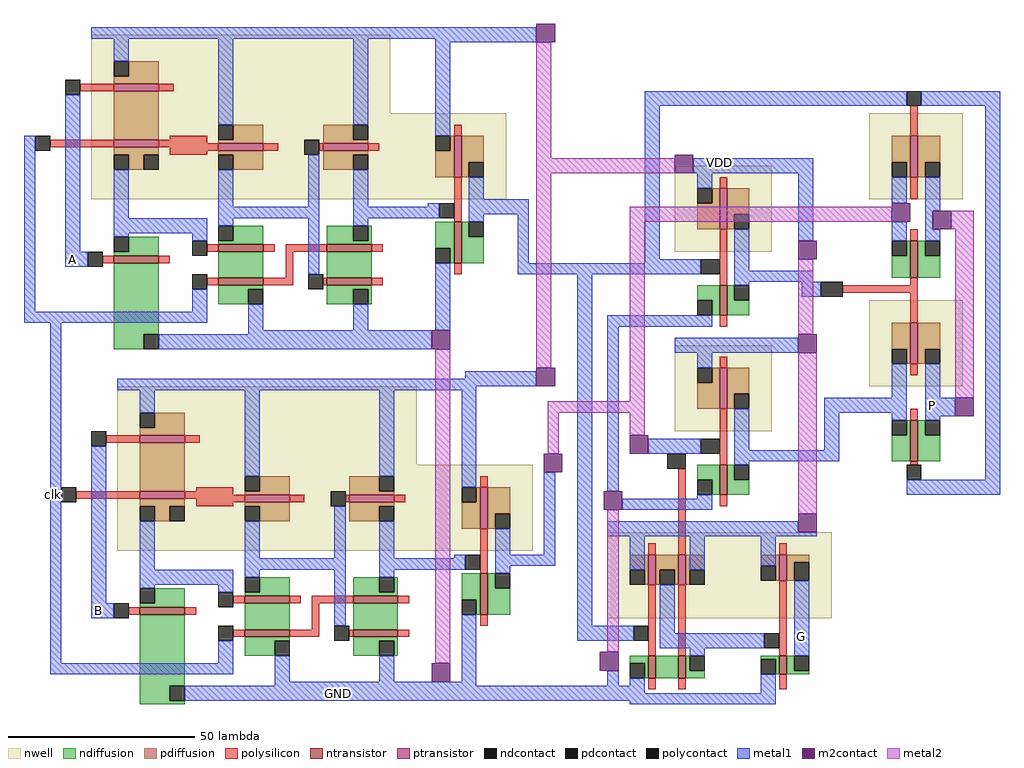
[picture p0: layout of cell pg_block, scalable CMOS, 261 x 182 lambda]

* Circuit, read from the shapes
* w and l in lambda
.subckt pg_block A B G GND P VDD clk
M1 n1 A GND VSUBS nfet w=12 l=2
M2 n2 B GND VSUBS nfet w=12 l=2
M3 n3 clk GND VSUBS nfet w=12 l=2
M4 n4 n1 n3 VSUBS nfet w=12 l=2
M5 n5 clk GND VSUBS nfet w=12 l=2
M6 n6 n2 n5 VSUBS nfet w=12 l=2
M7 n7 n4 GND VSUBS nfet w=12 l=2
M8 n8 clk n7 VSUBS nfet w=12 l=2
M9 n9 n6 GND VSUBS nfet w=12 l=2
M10 n10 clk n9 VSUBS nfet w=12 l=2
M11 n11 n8 GND VSUBS nfet w=11 l=2
M12 n12 n10 GND VSUBS nfet w=11 l=2
M13 n13 n11 GND VSUBS nfet w=6 l=2
M14 n14 n12 n13 VSUBS nfet w=6 l=2
M15 n15 n12 GND VSUBS nfet w=8 l=2
M16 n16 n11 GND VSUBS nfet w=8 l=2
M17 G n14 GND VSUBS nfet w=5 l=2
M18 P n11 n15 VSUBS nfet w=11 l=2
M19 P n16 n12 VSUBS nfet w=10 l=2
M20 n17 clk n1 n18 pfet w=12 l=2
M21 VDD A n17 n18 pfet w=12 l=2
M22 n19 clk n2 n20 pfet w=12 l=2
M23 VDD B n19 n20 pfet w=12 l=2
M24 VDD clk n4 n18 pfet w=12 l=2
M25 VDD clk n6 n20 pfet w=12 l=2
M26 VDD n4 n8 n18 pfet w=12 l=2
M27 VDD n6 n10 n20 pfet w=12 l=2
M28 n11 n8 VDD n18 pfet w=11 l=2
M29 n12 n10 VDD n20 pfet w=11 l=2
M30 n14 n11 VDD n21 pfet w=8 l=2
M31 VDD n12 n14 n21 pfet w=8 l=2
M32 n15 n12 VDD n22 pfet w=11 l=2
M33 n16 n11 VDD n23 pfet w=11 l=2
M34 G n14 VDD n21 pfet w=7 l=2
M35 P n16 n15 n24 pfet w=11 l=2
M36 P n11 n12 n25 pfet w=11 l=2
.ends

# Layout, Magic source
magic
tech scmos
<< nwell >>
rect -124 97 -44 118
rect -124 74 -13 97
rect 32 60 58 83
rect 84 74 109 97
rect -117 3 -37 24
rect 32 12 58 35
rect 84 24 109 47
rect -117 -20 -6 3
rect 14 -38 74 -15
<< ntransistor >>
rect -90 60 -78 62
rect -61 60 -49 62
rect -118 57 -106 59
rect -90 51 -78 53
rect -27 57 -25 68
rect -61 51 -49 53
rect 95 53 97 63
rect 44 43 46 51
rect 95 4 97 15
rect 44 -5 46 3
rect -83 -34 -71 -32
rect -54 -34 -42 -32
rect -111 -37 -99 -35
rect -83 -43 -71 -41
rect -20 -37 -18 -26
rect -54 -43 -42 -41
rect 25 -54 27 -48
rect 33 -54 35 -48
rect 60 -53 62 -48
<< ptransistor >>
rect -118 103 -106 105
rect -118 88 -106 90
rect -90 87 -78 89
rect -62 87 -50 89
rect -27 80 -25 91
rect 95 80 97 91
rect 44 66 46 77
rect 95 30 97 41
rect 44 18 46 29
rect -111 9 -99 11
rect -111 -6 -99 -4
rect -83 -7 -71 -5
rect -55 -7 -43 -5
rect -20 -14 -18 -3
rect 25 -29 27 -21
rect 33 -29 35 -21
rect 60 -28 62 -21
<< ndiffusion >>
rect -114 60 -106 64
rect -86 63 -78 67
rect -118 59 -106 60
rect -90 62 -78 63
rect -61 63 -54 67
rect -50 63 -49 67
rect -61 62 -49 63
rect -32 61 -27 68
rect -118 38 -106 57
rect -90 53 -78 60
rect -90 50 -78 51
rect -61 53 -49 60
rect -28 57 -27 61
rect -25 64 -23 68
rect -25 57 -19 64
rect 94 59 95 63
rect 90 53 95 59
rect 97 59 99 63
rect 97 53 103 59
rect -61 50 -49 51
rect -90 46 -82 50
rect -61 46 -54 50
rect -50 46 -49 50
rect 38 47 44 51
rect 42 43 44 47
rect 46 47 48 51
rect 46 43 52 47
rect -118 34 -110 38
rect 94 11 95 15
rect 90 4 95 11
rect 97 11 99 15
rect 97 4 103 11
rect 38 -1 44 3
rect 42 -5 44 -1
rect 46 -1 48 3
rect 46 -5 52 -1
rect -107 -34 -99 -30
rect -79 -31 -71 -27
rect -111 -35 -99 -34
rect -83 -32 -71 -31
rect -54 -31 -47 -27
rect -43 -31 -42 -27
rect -54 -32 -42 -31
rect -25 -33 -20 -26
rect -111 -56 -99 -37
rect -83 -41 -71 -34
rect -83 -44 -71 -43
rect -54 -41 -42 -34
rect -21 -37 -20 -33
rect -18 -30 -16 -26
rect -18 -37 -12 -30
rect -54 -44 -42 -43
rect -83 -48 -75 -44
rect -54 -48 -47 -44
rect -43 -48 -42 -44
rect 20 -50 25 -48
rect 24 -54 25 -50
rect 27 -54 33 -48
rect 35 -52 36 -48
rect 35 -54 40 -52
rect 55 -49 60 -48
rect 59 -53 60 -49
rect 62 -52 64 -48
rect 62 -53 68 -52
rect -111 -60 -103 -56
rect -111 -61 -99 -60
<< pdiffusion >>
rect -114 107 -106 111
rect -118 105 -106 107
rect -118 90 -106 103
rect -86 90 -78 94
rect -62 90 -54 94
rect -90 89 -78 90
rect -118 86 -106 88
rect -90 86 -78 87
rect -62 89 -50 90
rect -28 87 -27 91
rect -62 86 -50 87
rect -114 82 -110 86
rect -86 82 -78 86
rect -62 82 -54 86
rect -32 80 -27 87
rect -25 84 -19 91
rect -25 80 -23 84
rect 90 84 95 91
rect 94 80 95 84
rect 97 84 103 91
rect 97 80 99 84
rect 42 73 44 77
rect 38 66 44 73
rect 46 70 52 77
rect 46 66 48 70
rect 90 34 95 41
rect 94 30 95 34
rect 97 34 103 41
rect 97 30 99 34
rect 42 25 44 29
rect 38 18 44 25
rect 46 22 52 29
rect 46 18 48 22
rect -107 13 -99 17
rect -111 11 -99 13
rect -111 -4 -99 9
rect -79 -4 -71 0
rect -55 -4 -47 0
rect -83 -5 -71 -4
rect -111 -8 -99 -6
rect -83 -8 -71 -7
rect -55 -5 -43 -4
rect -21 -7 -20 -3
rect -55 -8 -43 -7
rect -107 -12 -103 -8
rect -79 -12 -71 -8
rect -55 -12 -47 -8
rect -25 -14 -20 -7
rect -18 -10 -12 -3
rect -18 -14 -16 -10
rect 20 -25 25 -21
rect 24 -29 25 -25
rect 27 -25 33 -21
rect 27 -29 28 -25
rect 32 -29 33 -25
rect 35 -25 40 -21
rect 35 -29 36 -25
rect 55 -24 60 -21
rect 59 -28 60 -24
rect 62 -23 68 -21
rect 62 -28 64 -23
<< ndcontact >>
rect -118 60 -114 64
rect -90 63 -86 67
rect -54 63 -50 67
rect -32 57 -28 61
rect -23 64 -19 68
rect 90 59 94 63
rect 99 59 103 63
rect -82 46 -78 50
rect -54 46 -50 50
rect 38 43 42 47
rect 48 47 52 51
rect -110 34 -106 38
rect 90 11 94 15
rect 99 11 103 15
rect 38 -5 42 -1
rect 48 -1 52 3
rect -111 -34 -107 -30
rect -83 -31 -79 -27
rect -47 -31 -43 -27
rect -25 -37 -21 -33
rect -16 -30 -12 -26
rect -75 -48 -71 -44
rect -47 -48 -43 -44
rect 20 -54 24 -50
rect 36 -52 40 -48
rect 55 -53 59 -49
rect 64 -52 68 -48
rect -103 -60 -99 -56
<< pdcontact >>
rect -118 107 -114 111
rect -90 90 -86 94
rect -54 90 -50 94
rect -32 87 -28 91
rect -118 82 -114 86
rect -110 82 -106 86
rect -90 82 -86 86
rect -54 82 -50 86
rect -23 80 -19 84
rect 90 80 94 84
rect 99 80 103 84
rect 38 73 42 77
rect 48 66 52 70
rect 90 30 94 34
rect 99 30 103 34
rect 38 25 42 29
rect 48 18 52 22
rect -111 13 -107 17
rect -83 -4 -79 0
rect -47 -4 -43 0
rect -25 -7 -21 -3
rect -111 -12 -107 -8
rect -103 -12 -99 -8
rect -83 -12 -79 -8
rect -47 -12 -43 -8
rect -16 -14 -12 -10
rect 20 -29 24 -25
rect 28 -29 32 -25
rect 36 -29 40 -25
rect 55 -28 59 -24
rect 64 -28 68 -23
<< polysilicon >>
rect -127 103 -118 105
rect -106 103 -102 105
rect -103 90 -93 91
rect -135 88 -118 90
rect -106 89 -93 90
rect -27 91 -25 94
rect 95 91 97 99
rect -106 88 -90 89
rect -103 87 -90 88
rect -78 87 -74 89
rect -103 86 -93 87
rect -63 87 -62 89
rect -50 87 -47 89
rect -27 68 -25 80
rect 44 77 46 80
rect -93 60 -90 62
rect -78 60 -75 62
rect -72 60 -61 62
rect -49 60 -46 62
rect -121 57 -118 59
rect -106 57 -103 59
rect -72 53 -70 60
rect -93 51 -90 53
rect -78 51 -70 53
rect 95 74 97 80
rect -27 54 -25 57
rect -62 51 -61 53
rect -49 51 -46 53
rect 44 51 46 66
rect 95 63 97 66
rect 95 51 97 53
rect 77 49 97 51
rect 44 40 46 43
rect 95 41 97 49
rect 44 29 46 32
rect 95 27 97 30
rect -120 9 -111 11
rect -99 9 -95 11
rect 44 3 46 18
rect 95 15 97 18
rect 95 3 97 4
rect -96 -4 -86 -3
rect -128 -6 -111 -4
rect -99 -5 -86 -4
rect -20 -3 -18 0
rect -99 -6 -83 -5
rect -96 -7 -83 -6
rect -71 -7 -67 -5
rect -96 -8 -86 -7
rect -56 -7 -55 -5
rect -43 -7 -40 -5
rect -20 -26 -18 -14
rect 25 -21 27 -18
rect 33 -21 35 2
rect 44 -8 46 -5
rect 60 -21 62 -18
rect -86 -34 -83 -32
rect -71 -34 -68 -32
rect -65 -34 -54 -32
rect -42 -34 -39 -32
rect -114 -37 -111 -35
rect -99 -37 -96 -35
rect -65 -41 -63 -34
rect -86 -43 -83 -41
rect -71 -43 -63 -41
rect -20 -40 -18 -37
rect -55 -43 -54 -41
rect -42 -43 -39 -41
rect 25 -48 27 -29
rect 33 -48 35 -29
rect 60 -48 62 -28
rect 25 -57 27 -54
rect 33 -57 35 -54
rect 60 -57 62 -53
<< polycontact >>
rect -131 102 -127 106
rect -139 87 -135 91
rect 94 99 98 103
rect -67 86 -63 90
rect -31 69 -27 73
rect -125 56 -121 60
rect -97 59 -93 63
rect -97 50 -93 54
rect -66 50 -62 54
rect 39 54 44 58
rect 71 48 77 52
rect -124 8 -120 12
rect -132 -7 -128 -3
rect 39 6 44 10
rect 30 2 35 6
rect -60 -8 -56 -4
rect -24 -25 -20 -21
rect 94 -1 98 3
rect -118 -38 -114 -34
rect -90 -35 -86 -31
rect -90 -44 -86 -40
rect -59 -44 -55 -40
rect 21 -44 25 -40
rect 56 -46 60 -42
<< metal1 >>
rect -124 117 -5 120
rect -118 111 -114 117
rect -142 44 -139 91
rect -131 60 -127 102
rect -90 94 -86 117
rect -54 94 -50 117
rect -32 116 -5 117
rect -32 91 -28 116
rect 24 99 94 103
rect 98 99 119 103
rect -118 69 -114 82
rect -90 72 -86 82
rect -66 72 -63 86
rect -90 69 -63 72
rect -118 65 -93 69
rect -118 64 -114 65
rect -97 63 -93 65
rect -90 67 -86 69
rect -131 56 -125 60
rect -66 54 -63 69
rect -54 72 -50 82
rect -23 74 -19 80
rect -34 72 -31 73
rect -54 69 -31 72
rect -23 70 -7 74
rect -54 67 -50 69
rect -23 68 -19 70
rect -97 44 -93 50
rect -142 41 -93 44
rect -135 -50 -132 41
rect -82 39 -78 46
rect -54 39 -50 46
rect -32 39 -28 57
rect -10 57 -7 70
rect 24 58 28 99
rect 37 81 69 85
rect 38 77 42 81
rect 24 57 39 58
rect -10 54 39 57
rect 48 55 52 66
rect 65 63 69 81
rect 90 73 94 80
rect 99 71 103 80
rect 90 63 94 68
rect 99 66 101 71
rect 99 63 103 66
rect -82 38 -33 39
rect -106 34 -33 38
rect -24 26 -5 28
rect -117 24 -5 26
rect -117 23 -21 24
rect -111 17 -107 23
rect -124 -34 -120 8
rect -83 0 -79 23
rect -47 0 -43 23
rect -25 -3 -21 23
rect -111 -25 -107 -12
rect -83 -22 -79 -12
rect -59 -22 -56 -8
rect -83 -25 -56 -22
rect -111 -29 -86 -25
rect -111 -30 -107 -29
rect -90 -31 -86 -29
rect -83 -27 -79 -25
rect -124 -38 -118 -34
rect -59 -40 -56 -25
rect -47 -22 -43 -12
rect -16 -21 -12 -14
rect -3 -21 0 1
rect -27 -22 -24 -21
rect -47 -25 -24 -22
rect -16 -24 0 -21
rect -47 -27 -43 -25
rect -16 -26 -12 -24
rect -90 -50 -86 -44
rect -135 -53 -86 -50
rect -75 -55 -71 -48
rect -47 -55 -43 -48
rect -25 -55 -21 -37
rect 6 -40 10 54
rect 48 52 69 55
rect 48 51 52 52
rect 66 48 71 52
rect 14 40 42 43
rect 14 -4 17 40
rect 32 33 65 37
rect 38 29 42 33
rect 90 21 94 30
rect 25 6 39 10
rect 48 7 52 18
rect 72 17 94 21
rect 72 7 76 17
rect 90 15 94 17
rect 99 21 103 30
rect 99 16 107 21
rect 99 15 103 16
rect 48 4 76 7
rect 48 3 52 4
rect 115 -1 119 99
rect 94 -5 119 -1
rect 38 -6 42 -5
rect 18 -9 42 -6
rect 14 -15 65 -12
rect 14 -16 70 -15
rect 20 -25 24 -16
rect 36 -25 40 -16
rect 55 -24 59 -16
rect 6 -44 21 -40
rect 28 -42 32 -29
rect 28 -46 56 -42
rect 36 -48 40 -46
rect -75 -56 -21 -55
rect 14 -56 17 -52
rect 64 -48 68 -28
rect 20 -56 24 -54
rect -99 -58 24 -56
rect 55 -58 59 -53
rect -99 -60 59 -58
rect 20 -61 59 -60
<< m2contact >>
rect -5 116 0 121
rect 32 81 37 86
rect 90 68 95 73
rect 65 58 70 63
rect 101 66 106 71
rect -33 34 -28 39
rect -5 24 0 29
rect -3 1 2 6
rect -33 -55 -28 -50
rect 65 33 70 38
rect 20 6 25 11
rect 107 16 112 21
rect 13 -9 18 -4
rect 65 -15 70 -10
rect 12 -52 17 -47
<< metal2 >>
rect -5 85 -1 116
rect -5 81 32 85
rect -32 -50 -28 34
rect -5 29 -1 81
rect 20 68 90 72
rect 20 20 24 68
rect 106 66 112 71
rect -2 17 24 20
rect -2 6 1 17
rect 20 11 24 17
rect 65 38 69 58
rect 14 -47 17 -9
rect 65 -10 70 33
rect 107 21 112 66
<< labels >>
rlabel metal1 44 84 44 84 1 VDD
rlabel metal1 -134 -5 -134 -5 3 clk
rlabel metal1 -58 -58 -58 -58 1 GND
rlabel metal1 -129 58 -129 58 1 A
rlabel metal1 101 19 101 19 1 P
rlabel metal1 -122 -36 -122 -36 1 B
rlabel metal1 66 -43 66 -43 1 G
<< end >>
